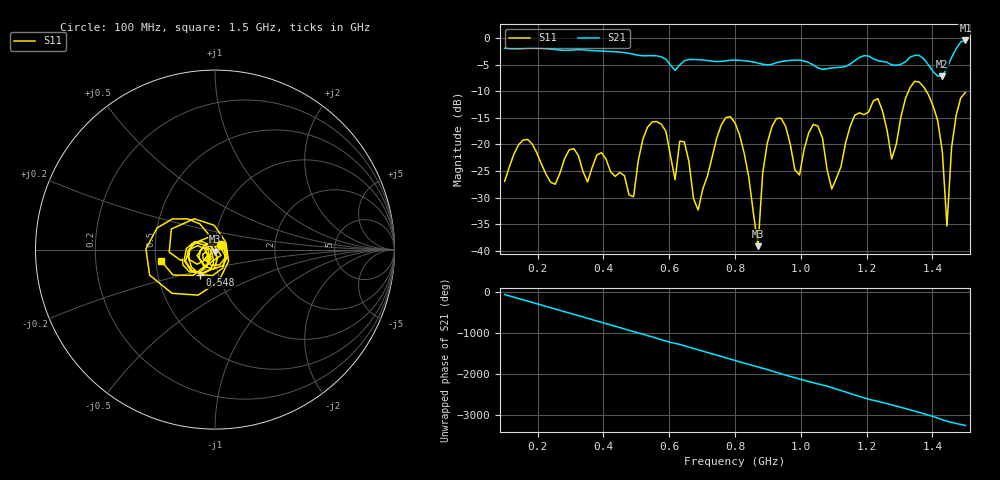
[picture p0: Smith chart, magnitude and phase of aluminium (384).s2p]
! NanoVNA-App
! Date: 2025-09-25 14:58:16
! Start: 100MHz Stop: 1,5GHz Points: 101
! S-Parameter data: F S11 S21 S12 S22
# Hz S RI R 50
!  Frequency  S11_Real  S11_Imag  S21_Real  S21_Imag  S12_Real  S12_Imag  S22_Real  S22_Imag
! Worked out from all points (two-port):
!   101 points, 100 MHz to 1.5 GHz, reference 50 ohm
!   highest |S21| = -0.46 dB at 1.5 GHz (marker M1); lowest = -7.2 dB at 1.43 GHz (marker M2)
!   |S21| within 3 dB of the highest: start of sweep to 569.9 MHz; 1.46 GHz to end of sweep (the widest 2 of 4)
!   lowest |S11| = -39.2 dB at 870 MHz (marker M3), VSWR 1.02, Z = 50.2 - j1.09 ohm
!   |S11| at or under -10 dB: start of sweep to 1.327 GHz; 1.381 GHz to end of sweep
!   S12 and S22 are empty: the file has one direction only
!   S11 on the Smith chart (normalised r, x): 100 MHz: 1.07, +0.06; 548 MHz: 0.82, -0.24; 1.5 GHz: 0.53, -0.07
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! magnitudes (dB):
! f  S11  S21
! 100 MHz  -27.0  -1.9
! 170 MHz  -19.1  -1.9
! 338 MHz  -25.1  -2.2
! 492 MHz  -29.8  -3.1
! 548 MHz  -15.8  -3.3
! 576 MHz  -16.2  -3.5
! 618 MHz  -26.7  -6.1
! 646 MHz  -19.5  -4.3
! 688 MHz  -32.4  -4.1
! 800 MHz  -16.0  -4.2
! 870 MHz  -39.2  -4.7
! 912 MHz  -16.7  -5.0
! 996 MHz  -25.8  -4.2
! 1.038 GHz  -16.2  -5.1
! 1.094 GHz  -28.4  -5.6
! 1.234 GHz  -11.4  -4.2
! 1.276 GHz  -22.8  -5.0
! 1.346 GHz  -8.2  -3.3
! 1.43 GHz  -21.4  -7.2
! 1.444 GHz  -35.4  -5.6
! 1.458 GHz  -20.6  -3.7
! 1.5 GHz  -10.3  -0.5
